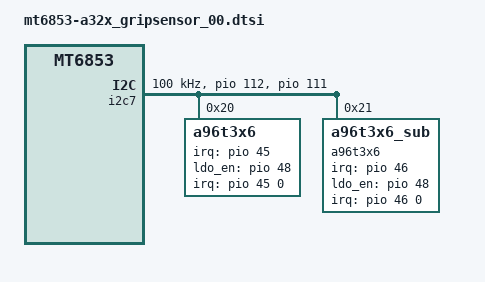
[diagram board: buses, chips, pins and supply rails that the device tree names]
/*
 * SAMSUNG board device tree source
 *
 * Copyright (c) 2019 Samsung Electronics Co., Ltd.
 *		http://www.samsung.com
 *
 * This program is free software; you can redistribute it and/or modify
 * it under the terms of the GNU General Public License version 2 as
 * published by the Free Software Foundation.
 */

&i2c7 {
	gpios = <&pio 112 0 /* sda */
			&pio 111 0>; /* scl */
	#address-cells = <1>;
	#size-cells = <0>;
	status = "okay";
	clock-frequency = <100000>;
	a96t3x6@20 {
		compatible = "a96t3x6";
		reg = <0x20>;
		
		pinctrl-names = "default";
		pinctrl-0 = <&grip_int &grip_ldo_setting>;
		interrupt-parent = <&pio>;
		interrupts = <45 0 0>;

		a96t3x6,irq_gpio = <&pio 45 0>;
		a96t3x6,ldo_en = <&pio 48 0>;
		a96t3x6,fw_path = "abov/a96t356_a32x_main.bin";
		a96t3x6,firmup_cmd = <0x3b>;
	};

	a96t3x6@21 {
		compatible = "a96t3x6_sub";
		reg = <0x21>;

		pinctrl-names = "default";
		pinctrl-0 = <&grip_sub_int>;
		interrupt-parent = <&pio>;
		interrupts = <46 0 0>;

		a96t3x6,irq_gpio = <&pio 46 0>;
		a96t3x6,ldo_en = <&pio 48 0>;
		a96t3x6,fw_path = "abov/a96t356_a32x_sub.bin";
		a96t3x6,firmup_cmd = <0x3b>;
	};
};

&pio {
	grip_int: grip-int {
		pins_cmd_dat {
			pinmux = <PINMUX_GPIO45__FUNC_GPIO45>;
			slew-rate = <0>;
			bias-disable;
		};
	};
	grip_sub_int: grip-sub-int {
		pins_cmd_dat {
			pinmux = <PINMUX_GPIO46__FUNC_GPIO46>;
			slew-rate = <0>;
			bias-disable;
		};
	};
	grip_ldo_setting: grip-ldo-setting {
		pins_cmd_dat {
			pinmux = <PINMUX_GPIO48__FUNC_GPIO48>;
			bias-disable;
			output-high;
        };
    };
};
